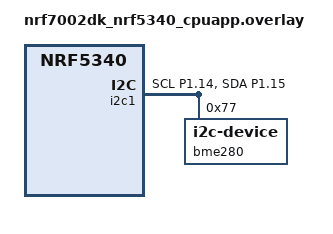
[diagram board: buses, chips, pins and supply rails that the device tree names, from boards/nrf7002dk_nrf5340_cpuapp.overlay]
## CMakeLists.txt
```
#
# Copyright (c) 2025 Nordic Semiconductor ASA
#
# SPDX-License-Identifier: LicenseRef-Nordic-5-Clause
#

cmake_minimum_required(VERSION 3.20.0)

find_package(Zephyr REQUIRED HINTS $ENV{ZEPHYR_BASE})
project(sum_application)

target_sources(app PRIVATE
    src/main.c
    src/bme280_raw.c
)

target_include_directories(app PRIVATE
    ${CMAKE_CURRENT_SOURCE_DIR}/sum_printk
    ${CMAKE_CURRENT_SOURCE_DIR}/sum_log
)

target_sources_ifdef(CONFIG_SUM_PRINT app PRIVATE
    sum_printk/sum_printk.c
)

target_sources_ifdef(CONFIG_SUM_LOG app PRIVATE
    sum_log/sum_log.c
)
```

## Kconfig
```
source "Kconfig.zephyr"

menu "ESE5180 Lab 0 Configuration"

choice SUM_IMPLEMENTATION
	prompt "Sum output implementation"
	default SUM_PRINT

config SUM_PRINT
	bool "Use printk for sum output"

config SUM_LOG
	bool "Use Logger for sum output"

endchoice

endmenu
```

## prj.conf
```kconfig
CONFIG_CONSOLE=y
CONFIG_UART_CONSOLE=y
CONFIG_PRINTK=y

CONFIG_LOG=y
CONFIG_LOG_DEFAULT_LEVEL=3

CONFIG_SUM_LOG=y

# Section 8: BME280
CONFIG_SENSOR=y
CONFIG_I2C=y
CONFIG_CBPRINTF_FP_SUPPORT=y
```

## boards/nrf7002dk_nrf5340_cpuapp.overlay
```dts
/ {
        aliases {
                led5180 = &led1;
                button5180 = &button0;
        };
};

&i2c1 {
        status = "okay";
        pinctrl-0 = <&i2c1_default>;
        pinctrl-1 = <&i2c1_sleep>;
        pinctrl-names = "default", "sleep";

        bme280: bme280@77 {
                compatible = "i2c-device";
                status = "okay";
                reg = <0x77>;
        };
};

&pinctrl {
        /omit-if-no-ref/ i2c1_default: i2c1_default {
                group1 {
                        psels = <NRF_PSEL(TWIM_SCL, 1, 14)>,
                                <NRF_PSEL(TWIM_SDA, 1, 15)>;
                };
        };

        /omit-if-no-ref/ i2c1_sleep: i2c1_sleep {
                group1 {
                        psels = <NRF_PSEL(TWIM_SCL, 1, 14)>,
                                <NRF_PSEL(TWIM_SDA, 1, 15)>;
                        low-power-enable;
                };
        };
};
```

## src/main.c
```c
/*
 * ESE5180 Lab 0
 * Section 8: Raw BME280 I2C temperature measurement
 */

#include <stdint.h>

#include <zephyr/devicetree.h>
#include <zephyr/drivers/i2c.h>
#include <zephyr/kernel.h>
#include <zephyr/logging/log.h>

#include "bme280_raw.h"

LOG_MODULE_REGISTER(bme280_app, LOG_LEVEL_INF);

#define BME280_NODE DT_NODELABEL(bme280)

#if !DT_NODE_HAS_STATUS(BME280_NODE, okay)
#error "BME280 Devicetree node is not enabled"
#endif

static const struct i2c_dt_spec bme280 =
        I2C_DT_SPEC_GET(BME280_NODE);

int main(void)
{
        struct bme280_calibration calibration;
        int32_t temperature;
        int32_t magnitude;
        int error;

        LOG_INF("Starting raw BME280 application");

        error = bme280_raw_init(&bme280, &calibration);
        if (error != 0) {
                LOG_ERR("BME280 initialization failed: %d", error);
                return 0;
        }

        LOG_INF("BME280 initialized successfully");

        while (1) {
                error = bme280_raw_read_temperature(
                        &bme280, &calibration, &temperature);

                if (error != 0) {
                        LOG_ERR("Temperature reading failed: %d", error);
                } else {
                        magnitude = temperature < 0 ?
                                    -temperature : temperature;

                        LOG_INF("Temperature: %s%d.%02d C",
                                temperature < 0 ? "-" : "",
                                magnitude / 100,
                                magnitude % 100);
                }

                k_sleep(K_SECONDS(2));
        }

        return 0;
}
```

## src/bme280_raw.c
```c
#include <errno.h>
#include <stdint.h>

#include <zephyr/device.h>
#include <zephyr/drivers/i2c.h>
#include <zephyr/logging/log.h>

#include "bme280_raw.h"

LOG_MODULE_REGISTER(bme280_raw, LOG_LEVEL_INF);

#define BME280_CHIP_ID_REG       0xD0
#define BME280_CHIP_ID_VALUE     0x60
#define BME280_CALIB_TEMP_REG    0x88
#define BME280_CTRL_MEAS_REG     0xF4
#define BME280_TEMP_MSB_REG      0xFA

/*
 * Temperature oversampling x1:
 * osrs_t = 001
 *
 * Pressure measurement skipped:
 * osrs_p = 000
 *
 * Normal operating mode:
 * mode = 11
 */
#define BME280_CTRL_MEAS_VALUE   0x23

static int bme280_read_registers(const struct i2c_dt_spec *sensor,
                                 uint8_t start_register,
                                 uint8_t *data,
                                 size_t length)
{
        return i2c_burst_read_dt(sensor, start_register, data, length);
}

static int bme280_write_register(const struct i2c_dt_spec *sensor,
                                 uint8_t reg,
                                 uint8_t value)
{
        uint8_t message[] = {reg, value};

        return i2c_write_dt(sensor, message, sizeof(message));
}

int bme280_raw_init(const struct i2c_dt_spec *sensor,
                    struct bme280_calibration *calibration)
{
        uint8_t chip_id;
        uint8_t calibration_data[6];
        int error;

        if (!device_is_ready(sensor->bus)) {
                LOG_ERR("I2C controller is not ready");
                return -ENODEV;
        }

        error = bme280_read_registers(sensor, BME280_CHIP_ID_REG,
                                     &chip_id, sizeof(chip_id));
        if (error != 0) {
                LOG_ERR("Failed to read BME280 chip ID: %d", error);
                return error;
        }

        LOG_INF("BME280 chip ID: 0x%02x", chip_id);

        if (chip_id != BME280_CHIP_ID_VALUE) {
                LOG_ERR("Unexpected chip ID, expected 0x60");
                return -ENODEV;
        }

        error = bme280_read_registers(sensor, BME280_CALIB_TEMP_REG,
                                     calibration_data,
                                     sizeof(calibration_data));
        if (error != 0) {
                LOG_ERR("Failed to read calibration data: %d", error);
                return error;
        }

        calibration->dig_t1 =
                (uint16_t)((calibration_data[1] << 8) |
                           calibration_data[0]);

        calibration->dig_t2 =
                (int16_t)((calibration_data[3] << 8) |
                          calibration_data[2]);

        calibration->dig_t3 =
                (int16_t)((calibration_data[5] << 8) |
                          calibration_data[4]);

        LOG_INF("Calibration: T1=%u T2=%d T3=%d",
                calibration->dig_t1,
                calibration->dig_t2,
                calibration->dig_t3);

        error = bme280_write_register(sensor, BME280_CTRL_MEAS_REG,
                                      BME280_CTRL_MEAS_VALUE);
        if (error != 0) {
                LOG_ERR("Failed to configure CTRL_MEAS: %d", error);
                return error;
        }

        return 0;
}

int32_t bme280_compensate_temperature(
        int32_t adc_temperature,
        const struct bme280_calibration *calibration)
{
        int32_t var1;
        int32_t var2;
        int32_t t_fine;

        var1 = (((adc_temperature >> 3) -
                ((int32_t)calibration->dig_t1 << 1)) *
                (int32_t)calibration->dig_t2) >> 11;

        var2 = (((((adc_temperature >> 4) -
                  (int32_t)calibration->dig_t1) *
                 ((adc_temperature >> 4) -
                  (int32_t)calibration->dig_t1)) >> 12) *
                (int32_t)calibration->dig_t3) >> 14;

        t_fine = var1 + var2;

        /* Result is temperature in hundredths of a degree Celsius. */
        return (t_fine * 5 + 128) >> 8;
}

int bme280_raw_read_temperature(const struct i2c_dt_spec *sensor,
                                const struct bme280_calibration *calibration,
                                int32_t *temperature_centi_c)
{
        uint8_t temperature_data[3];
        int32_t adc_temperature;
        int error;

        error = bme280_read_registers(sensor, BME280_TEMP_MSB_REG,
                                     temperature_data,
                                     sizeof(temperature_data));
        if (error != 0) {
                LOG_ERR("Failed to read temperature registers: %d", error);
                return error;
        }

        adc_temperature =
                ((int32_t)temperature_data[0] << 12) |
                ((int32_t)temperature_data[1] << 4) |
                ((int32_t)temperature_data[2] >> 4);

        *temperature_centi_c =
                bme280_compensate_temperature(adc_temperature, calibration);

        return 0;
}
```

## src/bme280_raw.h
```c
#ifndef BME280_RAW_H
#define BME280_RAW_H

#include <stdint.h>
#include <zephyr/drivers/i2c.h>

struct bme280_calibration {
        uint16_t dig_t1;
        int16_t dig_t2;
        int16_t dig_t3;
};

int bme280_raw_init(const struct i2c_dt_spec *sensor,
                    struct bme280_calibration *calibration);

int bme280_raw_read_temperature(const struct i2c_dt_spec *sensor,
                                const struct bme280_calibration *calibration,
                                int32_t *temperature_centi_c);

int32_t bme280_compensate_temperature(
        int32_t adc_temperature,
        const struct bme280_calibration *calibration);

#endif
```
